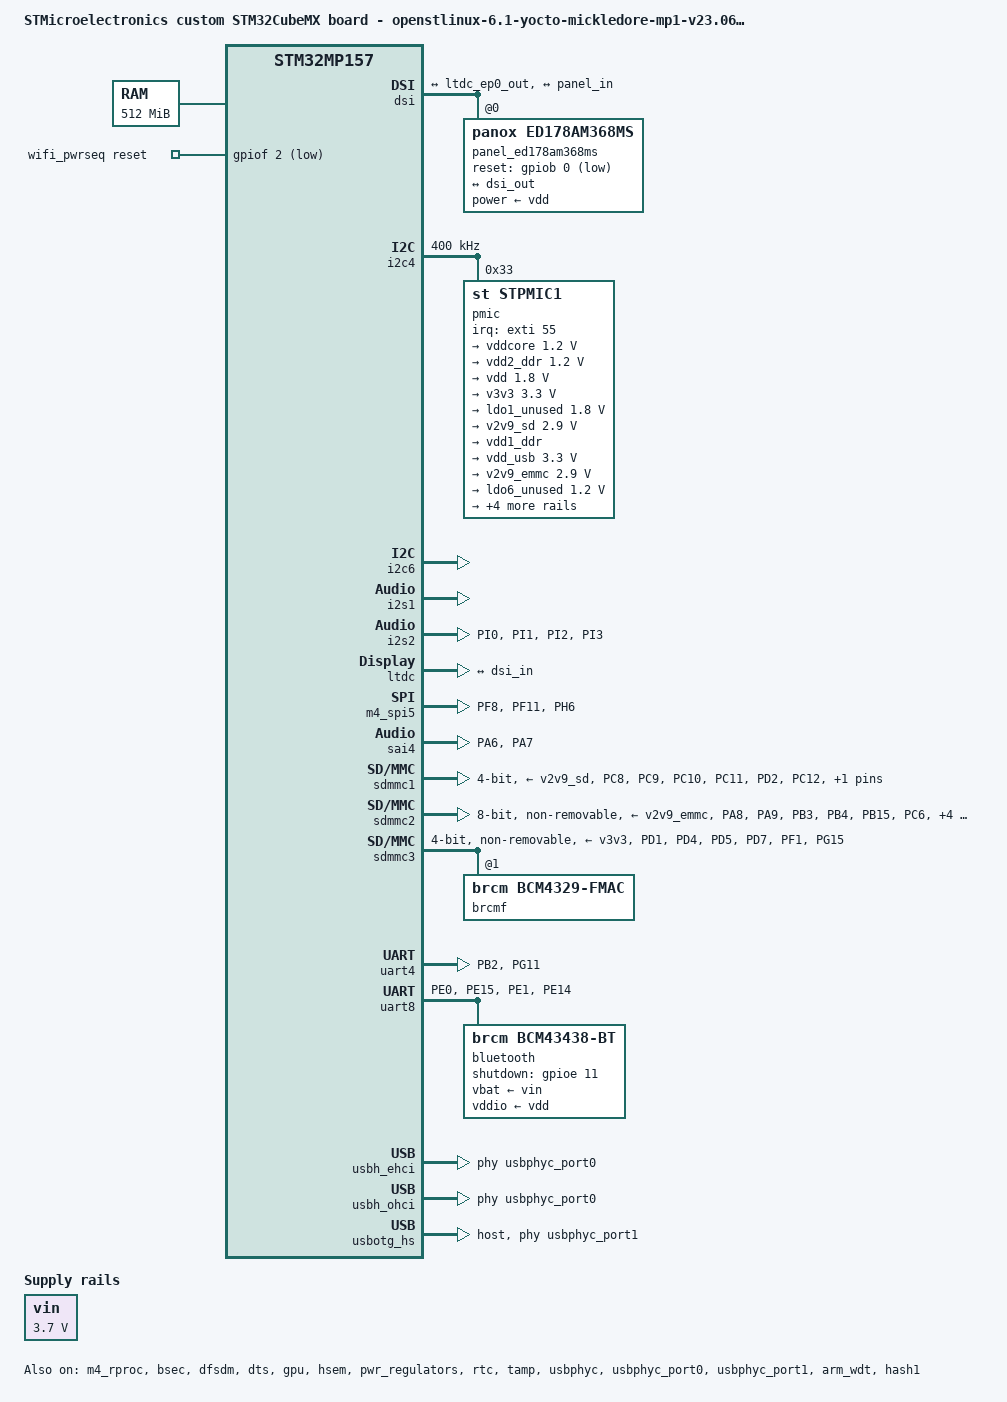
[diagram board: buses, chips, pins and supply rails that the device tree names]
// SPDX-License-Identifier: (GPL-2.0-or-later OR BSD-3-Clause)
/*
 * Copyright (C) 2024, STMicroelectronics - All Rights Reserved
 * Author: STM32CubeMX code generation for STMicroelectronics.
 */

/* For more information on Device Tree configuration, please refer to
 * https://wiki.st.com/stm32mpu/wiki/Category:Device_tree_configuration
 */

/dts-v1/;
#include <dt-bindings/pinctrl/stm32-pinfunc.h>

#include "stm32mp157.dtsi"
#include "stm32mp15xd.dtsi"
#include "stm32mp15xxac-pinctrl.dtsi"
#include "stm32mp15-m4-srm.dtsi"

/* USER CODE BEGIN includes */
#include <dt-bindings/gpio/gpio.h>
#include <dt-bindings/mfd/st,stpmic1.h>
#include "stm32mp157a-dk1-scmi.dtsi"
#include <dt-bindings/rtc/rtc-stm32.h>
/* USER CODE END includes */

/ {
	model = "STMicroelectronics custom STM32CubeMX board - openstlinux-6.1-yocto-mickledore-mp1-v23.06.21";
	compatible = "st,stm32mp157d-zegarson-mx", "st,stm32mp157";

	memory@c0000000 {
		device_type = "memory";
		reg = <0xc0000000 0x20000000>;

		/* USER CODE BEGIN memory */
		/* USER CODE END memory */
	};

	reserved-memory {
		#address-cells = <1>;
		#size-cells = <1>;
		ranges;

		/* USER CODE BEGIN reserved-memory */
		mcuram2:mcuram2@10000000{
			compatible = "shared-dma-pool";
			reg = <0x10000000 0x40000>;
			no-map;
		};

		vdev0vring0:vdev0vring0@10040000{
			compatible = "shared-dma-pool";
			reg = <0x10040000 0x1000>;
			no-map;
		};

		vdev0vring1:vdev0vring1@10041000{
			compatible = "shared-dma-pool";
			reg = <0x10041000 0x1000>;
			no-map;
		};

		vdev0buffer:vdev0buffer@10042000{
			compatible = "shared-dma-pool";
			reg = <0x10042000 0x4000>;
			no-map;
		};

		mcu_rsc_table:mcu-rsc-table@10048000{
			compatible = "shared-dma-pool";
			reg = <0x10048000 0x8000>;
			no-map;
		};

		mcuram:mcuram@30000000{
			compatible = "shared-dma-pool";
			reg = <0x30000000 0x40000>;
			no-map;
		};

		retram:retram@38000000{
			compatible = "shared-dma-pool";
			reg = <0x38000000 0x10000>;
			no-map;
		};
		
		gpu_reserved:gpu@d4000000{
			reg = <0xd4000000 0x2000000>;
			no-map;
		};
		/* USER CODE END reserved-memory */
	};

	/* USER CODE BEGIN root */
	vin: vin {
		compatible = "regulator-fixed";
		regulator-name = "vin";
		regulator-min-microvolt = <3700000>;
		regulator-max-microvolt = <3700000>;
		regulator-always-on;
	};

	aliases {
		serial0 = &uart4;
	};

	chosen {
		stdout-path = "serial0:115200n8";
	};

	wifi_pwrseq: wifi-pwrseq {
		compatible = "mmc-pwrseq-simple";
		reset-gpios = <&gpiof 2 GPIO_ACTIVE_LOW>;
	};
	/* USER CODE END root */

	clocks{

		/* USER CODE BEGIN clocks */
		/* USER CODE END clocks */
	};

}; /*root*/

&pinctrl {

	dfsdm_pins_mx: dfsdm_mx-0 {
		pins1 {
			pinmux = <STM32_PINMUX('C', 1, AF3)>; /* DFSDM1_DATIN0 */
			bias-disable;
		};
		pins2 {
			pinmux = <STM32_PINMUX('C', 2, AF6)>; /* DFSDM1_CKOUT */
			bias-disable;
			drive-push-pull;
			slew-rate = <0>;
		};
	};

	dfsdm_sleep_pins_mx: dfsdm_sleep_mx-0 {
		pins {
			pinmux = <STM32_PINMUX('C', 1, ANALOG)>, /* DFSDM1_DATIN0 */
					 <STM32_PINMUX('C', 2, ANALOG)>; /* DFSDM1_CKOUT */
		};
	};

	i2s2_pins_mx: i2s2_mx-0 {
		pins {
			pinmux = <STM32_PINMUX('I', 0, AF5)>, /* I2S2_WS */
					 <STM32_PINMUX('I', 1, AF5)>, /* I2S2_CK */
					 <STM32_PINMUX('I', 2, AF5)>, /* I2S2_SDI */
					 <STM32_PINMUX('I', 3, AF5)>; /* I2S2_SDO */
			bias-disable;
			drive-push-pull;
			slew-rate = <1>;
		};
	};

	i2s2_sleep_pins_mx: i2s2_sleep_mx-0 {
		pins {
			pinmux = <STM32_PINMUX('I', 0, ANALOG)>, /* I2S2_WS */
					 <STM32_PINMUX('I', 1, ANALOG)>, /* I2S2_CK */
					 <STM32_PINMUX('I', 2, ANALOG)>, /* I2S2_SDI */
					 <STM32_PINMUX('I', 3, ANALOG)>; /* I2S2_SDO */
		};
	};

	m4_spi5_pins_mx: m4_spi5_mx-0 {
		pins {
			pinmux = <STM32_PINMUX('F', 8, RSVD)>, /* SPI5_MISO */
					 <STM32_PINMUX('F', 11, RSVD)>, /* SPI5_MOSI */
					 <STM32_PINMUX('H', 6, RSVD)>; /* SPI5_SCK */
		};
	};

	rtc_pins_mx: rtc_mx-0 {
		pins {
			pinmux = <STM32_PINMUX('I', 8, ANALOG)>; /* RTC_LSCO */
		};
	};

	rtc_sleep_pins_mx: rtc_sleep_mx-0 {
		pins {
			pinmux = <STM32_PINMUX('I', 8, ANALOG)>; /* RTC_LSCO */
		};
	};

	sai4_pins_mx: sai4_mx-0 {
		pins {
			pinmux = <STM32_PINMUX('A', 6, AF4)>, /* SAI4_CK2 */
					 <STM32_PINMUX('A', 7, AF4)>; /* SAI4_D1 */
			bias-disable;
			drive-push-pull;
			slew-rate = <0>;
		};
	};

	sai4_sleep_pins_mx: sai4_sleep_mx-0 {
		pins {
			pinmux = <STM32_PINMUX('A', 6, ANALOG)>, /* SAI4_CK2 */
					 <STM32_PINMUX('A', 7, ANALOG)>; /* SAI4_D1 */
		};
	};

	sdmmc1_pins_mx: sdmmc1_mx-0 {
		pins1 {
			pinmux = <STM32_PINMUX('C', 8, AF12)>, /* SDMMC1_D0 */
					 <STM32_PINMUX('C', 9, AF12)>, /* SDMMC1_D1 */
					 <STM32_PINMUX('C', 10, AF12)>, /* SDMMC1_D2 */
					 <STM32_PINMUX('C', 11, AF12)>, /* SDMMC1_D3 */
					 <STM32_PINMUX('D', 2, AF12)>; /* SDMMC1_CMD */
			bias-pull-up;
			drive-push-pull;
			slew-rate = <1>;
		};
		pins2 {
			pinmux = <STM32_PINMUX('C', 12, AF12)>; /* SDMMC1_CK */
			bias-disable;
			drive-push-pull;
			slew-rate = <3>;
		};
	};

	sdmmc1_opendrain_pins_mx: sdmmc1_opendrain_mx-0 {
		pins1 {
			pinmux = <STM32_PINMUX('C', 8, AF12)>, /* SDMMC1_D0 */
					 <STM32_PINMUX('C', 9, AF12)>, /* SDMMC1_D1 */
					 <STM32_PINMUX('C', 10, AF12)>, /* SDMMC1_D2 */
					 <STM32_PINMUX('C', 11, AF12)>; /* SDMMC1_D3 */
			bias-pull-up;
			drive-push-pull;
			slew-rate = <1>;
		};
		pins2 {
			pinmux = <STM32_PINMUX('C', 12, AF12)>; /* SDMMC1_CK */
			bias-disable;
			drive-push-pull;
			slew-rate = <3>;
		};
		pins3 {
			pinmux = <STM32_PINMUX('D', 2, AF12)>; /* SDMMC1_CMD */
			bias-pull-up;
			drive-open-drain;
			slew-rate = <1>;
		};
	};

	sdmmc1_sleep_pins_mx: sdmmc1_sleep_mx-0 {
		pins {
			pinmux = <STM32_PINMUX('C', 8, ANALOG)>, /* SDMMC1_D0 */
					 <STM32_PINMUX('C', 9, ANALOG)>, /* SDMMC1_D1 */
					 <STM32_PINMUX('C', 10, ANALOG)>, /* SDMMC1_D2 */
					 <STM32_PINMUX('C', 11, ANALOG)>, /* SDMMC1_D3 */
					 <STM32_PINMUX('C', 12, ANALOG)>, /* SDMMC1_CK */
					 <STM32_PINMUX('D', 2, ANALOG)>; /* SDMMC1_CMD */
		};
	};

	sdmmc2_pins_mx: sdmmc2_mx-0 {
		pins1 {
			pinmux = <STM32_PINMUX('A', 8, AF9)>, /* SDMMC2_D4 */
					 <STM32_PINMUX('A', 9, AF10)>, /* SDMMC2_D5 */
					 <STM32_PINMUX('B', 3, AF9)>, /* SDMMC2_D2 */
					 <STM32_PINMUX('B', 4, AF9)>, /* SDMMC2_D3 */
					 <STM32_PINMUX('B', 15, AF9)>, /* SDMMC2_D1 */
					 <STM32_PINMUX('C', 6, AF10)>, /* SDMMC2_D6 */
					 <STM32_PINMUX('C', 7, AF10)>; /* SDMMC2_D7 */
			bias-pull-up;
			drive-push-pull;
			slew-rate = <3>;
		};
		pins2 {
			pinmux = <STM32_PINMUX('B', 14, AF9)>, /* SDMMC2_D0 */
					 <STM32_PINMUX('E', 3, AF9)>, /* SDMMC2_CK */
					 <STM32_PINMUX('G', 6, AF10)>; /* SDMMC2_CMD */
			bias-disable;
			drive-push-pull;
			slew-rate = <3>;
		};
	};

	sdmmc2_opendrain_pins_mx: sdmmc2_opendrain_mx-0 {
		pins1 {
			pinmux = <STM32_PINMUX('A', 8, AF9)>, /* SDMMC2_D4 */
					 <STM32_PINMUX('A', 9, AF10)>, /* SDMMC2_D5 */
					 <STM32_PINMUX('B', 3, AF9)>, /* SDMMC2_D2 */
					 <STM32_PINMUX('B', 4, AF9)>, /* SDMMC2_D3 */
					 <STM32_PINMUX('B', 15, AF9)>, /* SDMMC2_D1 */
					 <STM32_PINMUX('C', 6, AF10)>, /* SDMMC2_D6 */
					 <STM32_PINMUX('C', 7, AF10)>; /* SDMMC2_D7 */
			bias-pull-up;
			drive-push-pull;
			slew-rate = <3>;
		};
		pins2 {
			pinmux = <STM32_PINMUX('B', 14, AF9)>, /* SDMMC2_D0 */
					 <STM32_PINMUX('E', 3, AF9)>; /* SDMMC2_CK */
			bias-disable;
			drive-push-pull;
			slew-rate = <3>;
		};
		pins3 {
			pinmux = <STM32_PINMUX('G', 6, AF10)>; /* SDMMC2_CMD */
			bias-disable;
			drive-open-drain;
			slew-rate = <3>;
		};
	};

	sdmmc2_sleep_pins_mx: sdmmc2_sleep_mx-0 {
		pins {
			pinmux = <STM32_PINMUX('A', 8, ANALOG)>, /* SDMMC2_D4 */
					 <STM32_PINMUX('A', 9, ANALOG)>, /* SDMMC2_D5 */
					 <STM32_PINMUX('B', 3, ANALOG)>, /* SDMMC2_D2 */
					 <STM32_PINMUX('B', 4, ANALOG)>, /* SDMMC2_D3 */
					 <STM32_PINMUX('B', 14, ANALOG)>, /* SDMMC2_D0 */
					 <STM32_PINMUX('B', 15, ANALOG)>, /* SDMMC2_D1 */
					 <STM32_PINMUX('C', 6, ANALOG)>, /* SDMMC2_D6 */
					 <STM32_PINMUX('C', 7, ANALOG)>, /* SDMMC2_D7 */
					 <STM32_PINMUX('E', 3, ANALOG)>, /* SDMMC2_CK */
					 <STM32_PINMUX('G', 6, ANALOG)>; /* SDMMC2_CMD */
		};
	};

	sdmmc3_pins_mx: sdmmc3_mx-0 {
		pins1 {
			pinmux = <STM32_PINMUX('D', 1, AF10)>, /* SDMMC3_D0 */
					 <STM32_PINMUX('D', 4, AF10)>, /* SDMMC3_D1 */
					 <STM32_PINMUX('D', 5, AF10)>, /* SDMMC3_D2 */
					 <STM32_PINMUX('D', 7, AF10)>, /* SDMMC3_D3 */
					 <STM32_PINMUX('F', 1, AF9)>; /* SDMMC3_CMD */
			bias-disable;
			drive-push-pull;
			slew-rate = <1>;
		};
		pins2 {
			pinmux = <STM32_PINMUX('G', 15, AF10)>; /* SDMMC3_CK */
			bias-disable;
			drive-push-pull;
			slew-rate = <3>;
		};
	};

	sdmmc3_opendrain_pins_mx: sdmmc3_opendrain_mx-0 {
		pins1 {
			pinmux = <STM32_PINMUX('D', 1, AF10)>, /* SDMMC3_D0 */
					 <STM32_PINMUX('D', 4, AF10)>, /* SDMMC3_D1 */
					 <STM32_PINMUX('D', 5, AF10)>, /* SDMMC3_D2 */
					 <STM32_PINMUX('D', 7, AF10)>; /* SDMMC3_D3 */
			bias-disable;
			drive-push-pull;
			slew-rate = <1>;
		};
		pins2 {
			pinmux = <STM32_PINMUX('F', 1, AF9)>; /* SDMMC3_CMD */
			bias-disable;
			drive-open-drain;
			slew-rate = <1>;
		};
		pins3 {
			pinmux = <STM32_PINMUX('G', 15, AF10)>; /* SDMMC3_CK */
			bias-disable;
			drive-push-pull;
			slew-rate = <3>;
		};
	};

	sdmmc3_sleep_pins_mx: sdmmc3_sleep_mx-0 {
		pins {
			pinmux = <STM32_PINMUX('D', 1, ANALOG)>, /* SDMMC3_D0 */
					 <STM32_PINMUX('D', 4, ANALOG)>, /* SDMMC3_D1 */
					 <STM32_PINMUX('D', 5, ANALOG)>, /* SDMMC3_D2 */
					 <STM32_PINMUX('D', 7, ANALOG)>, /* SDMMC3_D3 */
					 <STM32_PINMUX('F', 1, ANALOG)>, /* SDMMC3_CMD */
					 <STM32_PINMUX('G', 15, ANALOG)>; /* SDMMC3_CK */
		};
	};

	uart4_pins_mx: uart4_mx-0 {
		pins1 {
			pinmux = <STM32_PINMUX('B', 2, AF8)>; /* UART4_RX */
			bias-disable;
		};
		pins2 {
			pinmux = <STM32_PINMUX('G', 11, AF6)>; /* UART4_TX */
			bias-disable;
			drive-push-pull;
			slew-rate = <0>;
		};
	};

	uart4_idle_pins_mx: uart4_idle_mx-0 {
		pins1 {
			pinmux = <STM32_PINMUX('B', 2, AF8)>; /* UART4_RX */
			bias-disable;
		};
		pins2 {
			pinmux = <STM32_PINMUX('G', 11, ANALOG)>; /* UART4_TX */
		};
	};

	uart4_sleep_pins_mx: uart4_sleep_mx-0 {
		pins {
			pinmux = <STM32_PINMUX('B', 2, ANALOG)>, /* UART4_RX */
					 <STM32_PINMUX('G', 11, ANALOG)>; /* UART4_TX */
		};
	};

	uart8_pins_mx: uart8_mx-0 {
		pins1 {
			pinmux = <STM32_PINMUX('E', 0, AF8)>, /* UART8_RX */
					 <STM32_PINMUX('E', 15, AF8)>; /* UART8_CTS */
			bias-disable;
		};
		pins2 {
			pinmux = <STM32_PINMUX('E', 1, AF8)>, /* UART8_TX */
					 <STM32_PINMUX('E', 14, AF8)>; /* UART8_RTS */
			bias-disable;
			drive-push-pull;
			slew-rate = <0>;
		};
	};

	uart8_idle_pins_mx: uart8_idle_mx-0 {
		pins1 {
			pinmux = <STM32_PINMUX('E', 0, AF8)>; /* UART8_RX */
			bias-disable;
		};
		pins2 {
			pinmux = <STM32_PINMUX('E', 1, ANALOG)>, /* UART8_TX */
					 <STM32_PINMUX('E', 15, ANALOG)>; /* UART8_CTS */
		};
		pins3 {
			pinmux = <STM32_PINMUX('E', 14, AF8)>; /* UART8_RTS */
			bias-disable;
			drive-push-pull;
			slew-rate = <0>;
		};
	};

	uart8_sleep_pins_mx: uart8_sleep_mx-0 {
		pins {
			pinmux = <STM32_PINMUX('E', 0, ANALOG)>, /* UART8_RX */
					 <STM32_PINMUX('E', 1, ANALOG)>, /* UART8_TX */
					 <STM32_PINMUX('E', 14, ANALOG)>, /* UART8_RTS */
					 <STM32_PINMUX('E', 15, ANALOG)>; /* UART8_CTS */
		};
	};

	/* USER CODE BEGIN pinctrl */
	/* USER CODE END pinctrl */
};

&pinctrl_z {

	i2c4_pins_z_mx: i2c4_mx-0 {
		pins {
			pinmux = <STM32_PINMUX('Z', 4, AF6)>, /* I2C4_SCL */
					 <STM32_PINMUX('Z', 5, AF6)>; /* I2C4_SDA */
			bias-disable;
			drive-open-drain;
			slew-rate = <0>;
		};
	};

	i2c4_sleep_pins_z_mx: i2c4_sleep_mx-0 {
		pins {
			pinmux = <STM32_PINMUX('Z', 4, ANALOG)>, /* I2C4_SCL */
					 <STM32_PINMUX('Z', 5, ANALOG)>; /* I2C4_SDA */
		};
	};

	i2c6_pins_z_mx: i2c6_mx-0 {
		pins {
			pinmux = <STM32_PINMUX('Z', 1, AF2)>, /* I2C6_SDA */
					 <STM32_PINMUX('Z', 6, AF2)>; /* I2C6_SCL */
			bias-disable;
			drive-open-drain;
			slew-rate = <0>;
		};
	};

	i2c6_sleep_pins_z_mx: i2c6_sleep_mx-0 {
		pins {
			pinmux = <STM32_PINMUX('Z', 1, ANALOG)>, /* I2C6_SDA */
					 <STM32_PINMUX('Z', 6, ANALOG)>; /* I2C6_SCL */
		};
	};

	i2s1_pins_z_mx: i2s1_mx-0 {
		pins {
			pinmux = <STM32_PINMUX('Z', 0, AF5)>, /* I2S1_CK */
					 <STM32_PINMUX('Z', 2, AF5)>, /* I2S1_SDO */
					 <STM32_PINMUX('Z', 3, AF5)>; /* I2S1_WS */
			bias-disable;
			drive-push-pull;
			slew-rate = <1>;
		};
	};

	i2s1_sleep_pins_z_mx: i2s1_sleep_mx-0 {
		pins {
			pinmux = <STM32_PINMUX('Z', 0, ANALOG)>, /* I2S1_CK */
					 <STM32_PINMUX('Z', 2, ANALOG)>, /* I2S1_SDO */
					 <STM32_PINMUX('Z', 3, ANALOG)>; /* I2S1_WS */
		};
	};

	/* USER CODE BEGIN pinctrl_z */
	/* USER CODE END pinctrl_z */
};

&m4_rproc{
	status = "okay";

	/* USER CODE BEGIN m4_rproc */
	memory-region = <&retram>, <&mcuram>, <&mcuram2>, <&vdev0vring0>,
			<&vdev0vring1>, <&vdev0buffer>, <&mcu_rsc_table>;
	mboxes = <&ipcc 0>, <&ipcc 1>, <&ipcc 2>, <&ipcc 3>;
	mbox-names = "vq0", "vq1", "shutdown", "detach";
	interrupt-parent = <&exti>;
	interrupts = <68 1>;
	wakeup-source;
	/* USER CODE END m4_rproc */

	m4_system_resources{
		status = "okay";

		/* USER CODE BEGIN m4_system_resources */
		/* USER CODE END m4_system_resources */
	};
};

&bsec{
	status = "okay";

	/* USER CODE BEGIN bsec */
	/* USER CODE END bsec */
};

&dfsdm{
	pinctrl-names = "default", "sleep";
	pinctrl-0 = <&dfsdm_pins_mx>;
	pinctrl-1 = <&dfsdm_sleep_pins_mx>;
	status = "okay";

	/* USER CODE BEGIN dfsdm */
	/* USER CODE END dfsdm */
};

&dma1{
	status = "okay";

	/* USER CODE BEGIN dma1 */
	/* USER CODE END dma1 */
};

&dma2{
	status = "disabled";

	/* USER CODE BEGIN dma2 */
	/* USER CODE END dma2 */
};

&dmamux1{
	status = "okay";

	dma-masters = <&dma1>;
	dma-channels = <8>;

	/* USER CODE BEGIN dmamux1 */
	/* USER CODE END dmamux1 */
};

&dsi{
	status = "okay";

	/* USER CODE BEGIN dsi */
	#address-cells = <1>;
	#size-cells = <0>;

	ports {
		#address-cells = <1>;
		#size-cells = <0>;

		port@0 {
			reg = <0>;

			dsi_in: endpoint {
				remote-endpoint = <&ltdc_ep0_out>;
			};
		};

		port@1 {
			reg = <1>;

			dsi_out: endpoint {
				remote-endpoint = <&panel_in>;
			};
		};
	};

	panel_ed178am368ms: panel@0 {
		status = "okay";
		compatible = "panox,ed178am368ms";
		reg = <0>;

		power-supply = <&vdd>;
		// enable-gpios = <&gpio2 27 GPIO_ACTIVE_HIGH>;
		reset-gpios = <&gpiob 0 GPIO_ACTIVE_LOW>;

		// panel-init-sequence = [
		// 	39 00 10 b1 6c 15 15 24 E4 11 f1 80 e4
		// 		 d7 23 80 c0 d2 58
		// 	...
		// 	05 78 01 11
		// 	05 78 01 29
		// ];

		// panel-exit-sequence = [
		// 	05 00 01 28
		// 	05 78 01 10
		// ];

		port {
			panel_in: endpoint {
				remote-endpoint = <&dsi_out>;
			};
		};
	};
	/* USER CODE END dsi */
};

&dts{
	status = "okay";

	/* USER CODE BEGIN dts */
	/* USER CODE END dts */
};

&gpu{
	status = "okay";

	/* USER CODE BEGIN gpu */
	contiguous-area = <&gpu_reserved>;
	/* USER CODE END gpu */
};

&hsem{
	status = "okay";

	/* USER CODE BEGIN hsem */
	/* USER CODE END hsem */
};

&i2c4{
	pinctrl-names = "default", "sleep";
	pinctrl-0 = <&i2c4_pins_z_mx>;
	pinctrl-1 = <&i2c4_sleep_pins_z_mx>;
	status = "okay";

	/* USER CODE BEGIN i2c4 */
	i2c-scl-rising-time-ns = <185>;	
	i2c-scl-falling-time-ns = <20>;
	clock-frequency = <400000>;
	/delete-property/ dmas;
	/delete-property/ dma-names;

	pmic: stpmic@33 {
		compatible = "st,stpmic1";
		reg = <0x33>;
		interrupts-extended = <&exti 55 IRQ_TYPE_EDGE_FALLING>;
		interrupt-controller;
		#interrupt-cells = <2>;
		status = "okay";

		regulators {
			compatible = "st,stpmic1-regulators";
			buck1-supply = <&vin>;
			buck2-supply = <&vin>;
			buck3-supply = <&vin>;
			buck4-supply = <&vin>;
			ldo1-supply = <&v3v3>;
			ldo2-supply = <&v3v3>;
			ldo3-supply = <&vdd>;
			ldo4-supply = <&vin>;
			ldo5-supply = <&v3v3>;
			ldo6-supply = <&v3v3>;
			vref_ddr-supply = <&vin>;
			boost-supply = <&vin>;
			pwr_sw1-supply = <&bst_out>;
			pwr_sw2-supply = <&bst_out>;


			vddcore: buck1 {
				regulator-name = "vddcore";
				regulator-min-microvolt = <1200000>;
				regulator-max-microvolt = <1200000>;
				regulator-always-on;
				regulator-initial-mode = <0>;
				regulator-over-current-protection;
			};


			vdd2_ddr: buck2 {
				regulator-name = "vdd2_ddr";
				regulator-min-microvolt = <1200000>;
				regulator-max-microvolt = <1200000>;
				regulator-always-on;
				regulator-initial-mode = <0>;
				regulator-over-current-protection;
			};


			vdd: buck3 {
				regulator-name = "vdd";
				regulator-min-microvolt = <1800000>;
				regulator-max-microvolt = <1800000>;
				regulator-always-on;
				st,mask-reset;
				regulator-initial-mode = <0>;
				regulator-over-current-protection;
			};


			v3v3: buck4 {
				regulator-name = "v3v3";
				regulator-min-microvolt = <3300000>;
				regulator-max-microvolt = <3300000>;
				regulator-always-on;
				regulator-over-current-protection;
				regulator-initial-mode = <0>;
			};


			ldo1_unused: ldo1 {
				regulator-name = "ldo1_unused";
				regulator-min-microvolt = <1800000>;
				regulator-max-microvolt = <1800000>;
				regulator-always-on;
			};


			v2v9_sd: ldo2 {
				regulator-name = "v2v9_sd";
				regulator-min-microvolt = <2900000>;
				regulator-max-microvolt = <2900000>;
				regulator-always-on;
			};


			vdd1_ddr: ldo3 {
				regulator-name = "vdd1_ddr";
				regulator-always-on;
				regulator-over-current-protection;
				st,regulator-bypass;
			};


			vdd_usb: ldo4 {
				regulator-name = "vdd_usb";
				regulator-min-microvolt = <3300000>;
				regulator-max-microvolt = <3300000>;
			};


			v2v9_emmc: ldo5 {
				regulator-name = "v2v9_emmc";
				regulator-min-microvolt = <2900000>;
				regulator-max-microvolt = <2900000>;
				regulator-always-on;
			};


			ldo6_unused: ldo6 {
				regulator-name = "ldo6_unused";
				regulator-min-microvolt = <1200000>;
				regulator-max-microvolt = <1200000>;
				regulator-always-on;
			};


			vref_ddr: vref_ddr {
				regulator-name = "vref_ddr";
				regulator-always-on;
			};


			bst_out: boost {
				regulator-name = "bst_out";
				regulator-always-on;
			};


			vbus_otg: pwr_sw1 {
				regulator-name = "vbus_otg";
				regulator-always-on;
				//regulator-over-current-protection;
				regulator-active-discharge = <1>;
			};


			vbus_sw: pwr_sw2 {
				regulator-name = "vbus_sw";
				regulator-always-on;
				//regulator-over-current-protection;
				regulator-active-discharge = <1>;
			};
		};

		onkey {
			compatible = "st,stpmic1-onkey";
			interrupts = <IT_PONKEY_F 0>, <IT_PONKEY_R 0>;
			interrupt-names = "onkey-falling", "onkey-rising";
			power-off-time-sec = <3>;
			status = "okay";
		};
	};
	/* USER CODE END i2c4 */
};

&i2c6{
	pinctrl-names = "default", "sleep";
	pinctrl-0 = <&i2c6_pins_z_mx>;
	pinctrl-1 = <&i2c6_sleep_pins_z_mx>;
	status = "okay";

	/* USER CODE BEGIN i2c6 */
	/* USER CODE END i2c6 */
};

&i2s1{
	pinctrl-names = "default", "sleep";
	pinctrl-0 = <&i2s1_pins_z_mx>;
	pinctrl-1 = <&i2s1_sleep_pins_z_mx>;
	status = "okay";

	/* USER CODE BEGIN i2s1 */
	/* USER CODE END i2s1 */
};

&i2s2{
	pinctrl-names = "default", "sleep";
	pinctrl-0 = <&i2s2_pins_mx>;
	pinctrl-1 = <&i2s2_sleep_pins_mx>;
	status = "okay";

	/* USER CODE BEGIN i2s2 */
	/* USER CODE END i2s2 */
};

&ltdc{
	status = "okay";

	/* USER CODE BEGIN ltdc */
	default-on;
	
	port{
		#address-cells = <1>;
		#size-cells = <0>;

		ltdc_ep0_out:endpoint{
			reg = <0>;
			remote-endpoint = <&dsi_in>;
		};
	};
	/* USER CODE END ltdc */
};

&m4_dma2{
	status = "okay";

	/* USER CODE BEGIN m4_dma2 */
	/* USER CODE END m4_dma2 */
};

&m4_spi5{
	pinctrl-names = "default";
	pinctrl-0 = <&m4_spi5_pins_mx>;
	status = "okay";

	/* USER CODE BEGIN m4_spi5 */
	/* USER CODE END m4_spi5 */
};

&mdma1{
	status = "okay";

	/* USER CODE BEGIN mdma1 */
	/* USER CODE END mdma1 */
};

&pwr_regulators{
	status = "okay";

	/* USER CODE BEGIN pwr_regulators */
	vdd-supply = <&vdd>;
	vdd_3v3_usbfs-supply = <&vdd_usb>;
	/* USER CODE END pwr_regulators */
};

&rcc{
	status = "okay";

	/* USER CODE BEGIN rcc */
	/* USER CODE END rcc */
};

&rtc{
	pinctrl-names = "default", "sleep";
	pinctrl-0 = <&rtc_pins_mx>;
	pinctrl-1 = <&rtc_sleep_pins_mx>;
	status = "okay";

	/* USER CODE BEGIN rtc */
	st,lsco = <RTC_OUT2_RMP>;
	/* USER CODE END rtc */
};

&sai4{
	pinctrl-names = "default", "sleep";
	pinctrl-0 = <&sai4_pins_mx>;
	pinctrl-1 = <&sai4_sleep_pins_mx>;
	status = "okay";

	/* USER CODE BEGIN sai4 */
	/* USER CODE END sai4 */

	sai4a:audio-controller@50027004{
		status = "okay";

		/* USER CODE BEGIN sai4a */
		/* USER CODE END sai4a */
	};
};

&sdmmc1{
	pinctrl-names = "default", "opendrain", "sleep";
	pinctrl-0 = <&sdmmc1_pins_mx>;
	pinctrl-1 = <&sdmmc1_opendrain_pins_mx>;
	pinctrl-2 = <&sdmmc1_sleep_pins_mx>;
	status = "okay";

	/* USER CODE BEGIN sdmmc1 */
	cd-gpios = <&gpioh 12 (GPIO_ACTIVE_LOW | GPIO_PULL_UP)>;
	disable-wp;
	st,neg-edge;
	bus-width = <4>;
	vmmc-supply = <&v2v9_sd>;
	no-1-8-v;
	/* USER CODE END sdmmc1 */
};

&sdmmc2{
	pinctrl-names = "default", "opendrain", "sleep";
	pinctrl-0 = <&sdmmc2_pins_mx>;
	pinctrl-1 = <&sdmmc2_opendrain_pins_mx>;
	pinctrl-2 = <&sdmmc2_sleep_pins_mx>;
	status = "okay";

	/* USER CODE BEGIN sdmmc2 */
	disable-wp;
	st,neg-edge;
	bus-width = <8>;
	vmmc-supply = <&v2v9_emmc>;
	non-removable;
	mmc-ddr-1_8v;
	vqmmc-supply = <&vdd>; 
	/* USER CODE END sdmmc2 */
};

&sdmmc3{
	pinctrl-names = "default", "opendrain", "sleep";
	pinctrl-0 = <&sdmmc3_pins_mx>;
	pinctrl-1 = <&sdmmc3_opendrain_pins_mx>;
	pinctrl-2 = <&sdmmc3_sleep_pins_mx>;
	status = "okay";

	/* USER CODE BEGIN sdmmc3 */
	non-removable;
	cap-sdio-irq;
	st,neg-edge;
	bus-width = <4>;
	vmmc-supply = <&v3v3>;
	mmc-pwrseq = <&wifi_pwrseq>;
	#address-cells = <1>;
	#size-cells = <0>;

	brcmf: bcrmf@1 {
		reg = <1>;
		compatible = "brcm,bcm4329-fmac";
	};
	/* USER CODE END sdmmc3 */
};

&tamp{
	status = "okay";

	/* USER CODE BEGIN tamp */
	/* USER CODE END tamp */
};

&uart4{
	pinctrl-names = "default", "idle", "sleep";
	pinctrl-0 = <&uart4_pins_mx>;
	pinctrl-1 = <&uart4_idle_pins_mx>;
	pinctrl-2 = <&uart4_sleep_pins_mx>;
	status = "okay";

	/* USER CODE BEGIN uart4 */
	/delete-property/ dmas;
	/delete-property/ dma-names;
	/* USER CODE END uart4 */
};

&uart8{
	pinctrl-names = "default", "idle", "sleep";
	pinctrl-0 = <&uart8_pins_mx>;
	pinctrl-1 = <&uart8_idle_pins_mx>;
	pinctrl-2 = <&uart8_sleep_pins_mx>;
	status = "okay";

	/* USER CODE BEGIN uart8 */
	uart-has-rtscts;

	bluetooth{
		shutdown-gpios = <&gpioe 11 GPIO_ACTIVE_HIGH>;
		compatible = "brcm,bcm43438-bt";
		max-speed = <3000000>;
		vbat-supply = <&vin>;
		vddio-supply = <&vdd>;
	};
	/* USER CODE END uart8 */
};

&usbh_ehci{
	status = "okay";

	/* USER CODE BEGIN usbh_ehci */
	phys = <&usbphyc_port0>;
	/* USER CODE END usbh_ehci */
};

&usbh_ohci{
	status = "okay";

	/* USER CODE BEGIN usbh_ohci */
	phys = <&usbphyc_port0>;
	/* USER CODE END usbh_ohci */
};

&usbotg_hs{
	status = "okay";

	/* USER CODE BEGIN usbotg_hs */
	phys = <&usbphyc_port1 0>;
	phy-names = "usb2-phy";
	dr_mode = "host";
	/* USER CODE END usbotg_hs */
};

&usbphyc{
	status = "okay";

	/* USER CODE BEGIN usbphyc */
	/* USER CODE END usbphyc */
};

&usbphyc_port0{
	status = "okay";

	/* USER CODE BEGIN usbphyc_port0 */
	phy-supply = <&vdd_usb>;
	st,tune-hs-dc-level = <2>;
	st,enable-fs-rftime-tuning;
	st,enable-hs-rftime-reduction;
	st,trim-hs-current = <15>;
	st,trim-hs-impedance = <1>;
	st,tune-squelch-level = <3>;
	st,tune-hs-rx-offset = <2>;
	st,no-lsfs-sc;
	/* USER CODE END usbphyc_port0 */
};

&usbphyc_port1{
	status = "okay";

	/* USER CODE BEGIN usbphyc_port1 */
	phy-supply = <&vdd_usb>;
	st,tune-hs-dc-level = <2>;
	st,enable-fs-rftime-tuning;
	st,enable-hs-rftime-reduction;
	st,trim-hs-current = <15>;
	st,trim-hs-impedance = <1>;
	st,tune-squelch-level = <3>;
	st,tune-hs-rx-offset = <2>;
	st,no-lsfs-sc;
	/* USER CODE END usbphyc_port1 */
};

/* USER CODE BEGIN addons */
&arm_wdt{
	timeout-sec = <32>;
	status = "okay";
};

&cpu0{
	cpu-supply = <&vddcore>;
};

&cpu1{
	cpu-supply = <&vddcore>;
};

&hash1{
	status = "okay";

	/* USER CODE BEGIN hash1 */
	/* USER CODE END hash1 */
};

&ipcc {
	status = "okay";
};
/* USER CODE END addons */

